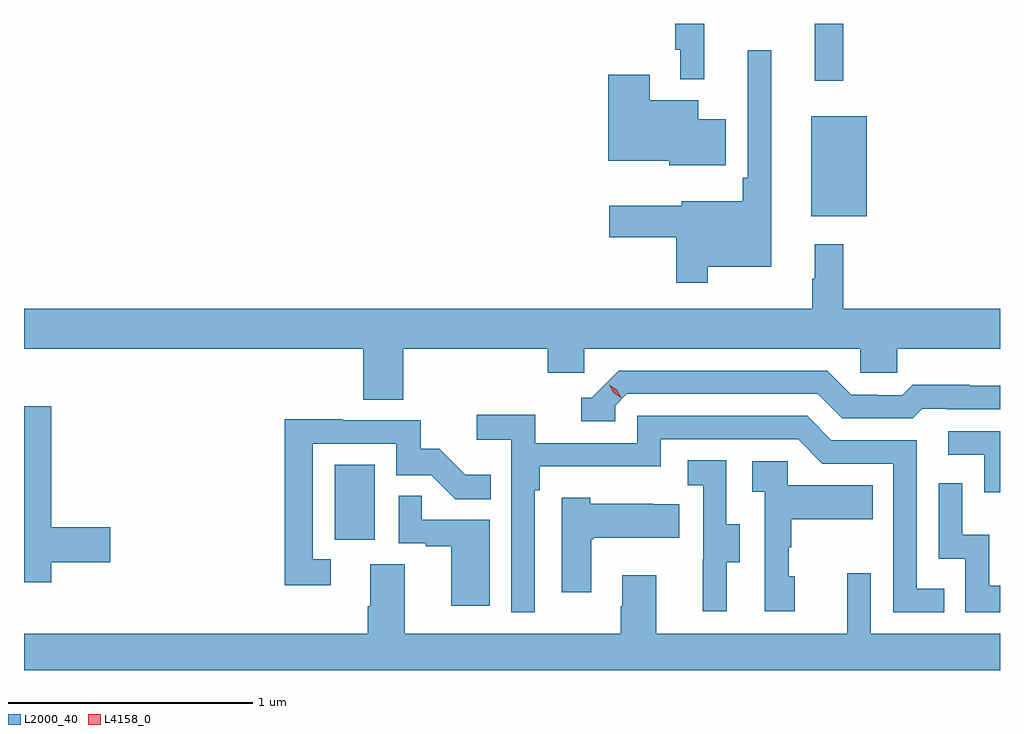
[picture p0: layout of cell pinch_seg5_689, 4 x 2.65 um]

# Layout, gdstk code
import gdstk
lib = gdstk.Library(unit=1e-6, precision=1e-09)
def R(c, l, rs):  # rectangles x0, y0, x1, y1
    for r in rs: c.add(gdstk.rectangle(r[:2], r[2:], *l))
def P(c, l, *ps):  # polygons
    for p in ps: c.add(gdstk.Polygon(p, *l))
L2000_40 = (2000, 40)
L4158_0 = (4158, 0)

pinch_seg5_689 = lib.new_cell('pinch_seg5_689')
R(pinch_seg5_689, L2000_40, [(1082.18,833.334,1082.344,833.641), (1084.133,834.659,1084.36,835.069), (1084.148,835.215,1084.265,835.448)])
P(pinch_seg5_689, L2000_40, [(1083.695,835.448),(1083.577,835.448),(1083.577,835.341),(1083.597,835.341),(1083.597,835.22),(1083.695,835.22)],
  [(1083.709,834.452),(1083.97,834.452),(1083.97,835.339),(1083.873,835.339),(1083.873,834.817),(1083.853,834.817),(1083.853,834.721),(1083.603,834.721),(1083.603,834.703),(1083.306,834.703),(1083.306,834.574),(1083.58,834.574),(1083.58,834.387),(1083.709,834.387)],
  [(1083.784,835.057),(1083.67,835.057),(1083.67,835.135),(1083.472,835.135),(1083.472,835.24),(1083.302,835.24),(1083.302,834.887),(1083.552,834.887),(1083.552,834.869),(1083.784,834.869)],
  [(1082.462,834.116),(1083.053,834.116),(1083.053,834.018),(1083.204,834.018),(1083.204,834.116),(1084.335,834.116),(1084.335,834.018),(1084.485,834.018),(1084.485,834.116),(1084.907,834.116),(1084.907,834.28),(1084.265,834.28),(1084.265,834.544),(1084.148,834.544),(1084.148,834.404),(1084.137,834.404),(1084.137,834.28),(1080.907,834.28),(1080.907,834.116),(1082.297,834.116),(1082.297,833.908),(1082.462,833.908)],
  [(1083.33,833.883),(1083.378,833.931),(1084.161,833.931),(1084.26,833.832),(1084.549,833.832),(1084.588,833.871),(1084.687,833.871),(1084.687,833.868),(1084.907,833.868),(1084.907,833.965),(1084.782,833.965),(1084.782,833.968),(1084.549,833.968),(1084.507,833.925),(1084.404,833.925),(1084.404,833.928),(1084.297,833.928),(1084.198,834.027),(1083.345,834.027),(1083.234,833.916),(1083.191,833.916),(1083.191,833.82),(1083.33,833.82)],
  [(1081.018,833.242),(1081.261,833.242),(1081.261,833.384),(1081.018,833.384),(1081.018,833.881),(1080.907,833.881),(1080.907,833.16),(1081.018,833.16)],
  [(1083,833.537),(1083.02,833.537),(1083.02,833.634),(1083.516,833.634),(1083.516,833.745),(1084.08,833.745),(1084.179,833.646),(1084.47,833.646),(1084.47,833.037),(1084.679,833.037),(1084.679,833.133),(1084.566,833.133),(1084.566,833.742),(1084.216,833.742),(1084.117,833.841),(1083.42,833.841),(1083.42,833.73),(1083.002,833.73),(1083.002,833.846),(1082.763,833.846),(1082.763,833.744),(1082.904,833.744),(1082.904,833.037),(1083,833.037)],
  [(1082.164,833.253),(1082.091,833.253),(1082.091,833.727),(1082.433,833.727),(1082.433,833.598),(1082.577,833.598),(1082.675,833.5),(1082.819,833.5),(1082.819,833.599),(1082.715,833.599),(1082.608,833.706),(1082.532,833.706),(1082.532,833.823),(1082.213,833.823),(1082.213,833.828),(1081.975,833.828),(1081.975,833.148),(1082.164,833.148)],
  [(1084.907,833.778),(1084.695,833.778),(1084.695,833.682),(1084.842,833.682),(1084.842,833.529),(1084.907,833.529)],
  [(1083.787,833.242),(1083.841,833.242),(1083.841,833.397),(1083.786,833.397),(1083.786,833.66),(1083.627,833.66),(1083.627,833.557),(1083.69,833.557),(1083.69,833.253),(1083.689,833.253),(1083.689,833.04),(1083.787,833.04)],
  [(1084.066,833.184),(1084.041,833.184),(1084.041,833.303),(1084.051,833.303),(1084.051,833.417),(1084.385,833.417),(1084.385,833.557),(1084.038,833.557),(1084.038,833.655),(1083.891,833.655),(1083.891,833.531),(1083.942,833.531),(1083.942,833.04),(1084.066,833.04)],
  [(1084.907,833.146),(1084.862,833.146),(1084.862,833.354),(1084.752,833.354),(1084.752,833.566),(1084.656,833.566),(1084.656,833.256),(1084.764,833.256),(1084.764,833.037),(1084.907,833.037)],
  [(1082.815,833.415),(1082.537,833.415),(1082.537,833.513),(1082.442,833.513),(1082.442,833.319),(1082.553,833.319),(1082.553,833.307),(1082.657,833.307),(1082.657,833.064),(1082.815,833.064)],
  [(1083.232,833.335),(1083.24,833.335),(1083.24,833.342),(1083.593,833.342),(1083.593,833.479),(1083.485,833.479),(1083.485,833.482),(1083.228,833.482),(1083.228,833.506),(1083.11,833.506),(1083.11,833.118),(1083.232,833.118)],
  [(1084.907,832.948),(1084.377,832.948),(1084.377,833.197),(1084.28,833.197),(1084.28,832.948),(1083.499,832.948),(1083.499,833.188),(1083.359,833.188),(1083.359,833.06),(1083.352,833.06),(1083.352,832.948),(1082.467,832.948),(1082.467,833.234),(1082.327,833.234),(1082.327,833.06),(1082.315,833.06),(1082.315,832.948),(1080.907,832.948),(1080.907,832.799),(1084.907,832.799)])
P(pinch_seg5_689, L4158_0, [(1083.353,833.916),(1083.322,833.935),(1083.305,833.968),(1083.305,833.968),(1083.306,833.968),(1083.337,833.949),(1083.354,833.916),(1083.354,833.916)])

lib.write_gds('pinch_seg5_689.gds')
